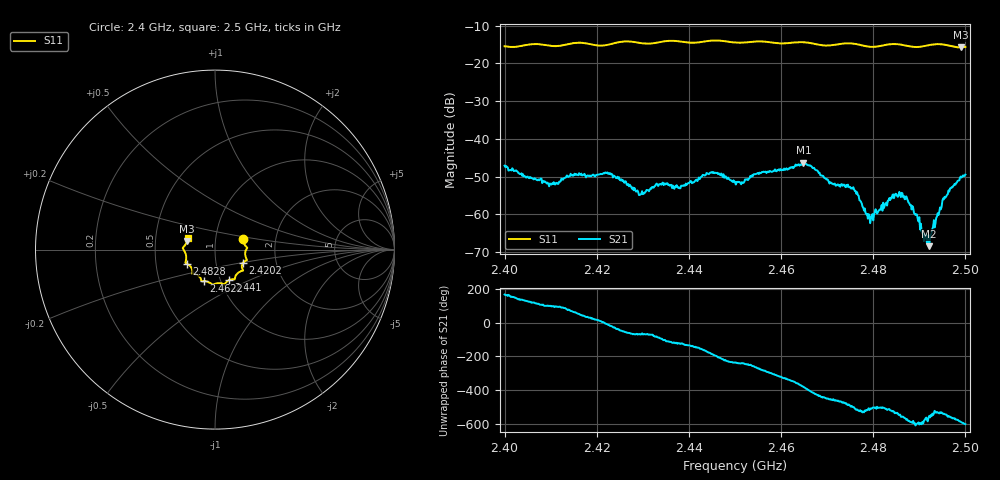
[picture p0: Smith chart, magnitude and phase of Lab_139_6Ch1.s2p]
# Hz S RI R 50
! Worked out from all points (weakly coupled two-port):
!   601 points, 2.4 GHz to 2.5 GHz, reference 50 ohm
!   highest |S21| = -46.37 dB at 2.4648 GHz (marker M1); lowest = -68.5 dB at 2.4922 GHz (marker M2)
!   lowest |S11| = -15.8 dB at 2.499 GHz (marker M3), VSWR 1.39, Z = 36.4 + j3.59 ohm
!   |S11| at or under -10 dB: start of sweep to end of sweep
!   S12 and S22 are empty: the file has one direction only
!   S11 on the Smith chart (normalised r, x): 2.4 GHz: 1.36, +0.17; 2.4202 GHz: 1.35, -0.20; 2.441 GHz: 1.10, -0.39; 2.4622 GHz: 0.83, -0.30; 2.4828 GHz: 0.72, -0.12; 2.5 GHz: 0.73, +0.09
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2.4e9  0.157 0.0608  -0.00425 0.00115  0 0  0 0
2.41e9  0.1704 -0.00726  -0.000347 0.00248  0 0  0 0
2.416667e9  0.1776 -0.0593  0.00246 0.00241  0 0  0 0
2.420167e9  0.1569 -0.0719  0.00323 0.000824  0 0  0 0
2.429667e9  0.1383 -0.123  0.000637 -0.00174  0 0  0 0
2.433333e9  0.1128 -0.1519  5.11e-05 -0.00236  0 0  0 0
2.441e9  0.0772 -0.1705  -0.00212 -0.00156  0 0  0 0
2.445167e9  0.0531 -0.1934  -0.0035 0.000477  0 0  0 0
2.45e9  0.027 -0.1868  -0.00151 0.00225  0 0  0 0
2.462167e9  -0.0628 -0.1762  0.00401 0.00119  0 0  0 0
2.464833e9  -0.0748 -0.1752  0.00454 -0.00156  0 0  0 0
2.466667e9  -0.0776 -0.1673  0.00272 -0.00328  0 0  0 0
2.476e9  -0.1259 -0.1304  -0.0017 -0.00111  0 0  0 0
2.479e9  -0.13 -0.1042  -0.000835 -0.00056  0 0  0 0
2.482833e9  -0.1579 -0.0779  -0.00122 -0.000733  0 0  0 0
2.483333e9  -0.1606 -0.0766  -0.00133 -0.000751  0 0  0 0
2.486667e9  -0.1623 -0.0624  -0.00163 0.000615  0 0  0 0
2.491167e9  -0.1694 -0.00973  -0.000399 0.000281  0 0  0 0
2.492167e9  -0.1748 -0.00126  -0.000371 6.69e-05  0 0  0 0
2.4955e9  -0.1758 0.0142  -0.0017 1.09e-05  0 0  0 0
2.499e9  -0.1553 0.0481  -0.0022 0.00227  0 0  0 0
2.5e9  -0.1531 0.0619  -0.00172 0.00288  0 0  0 0
